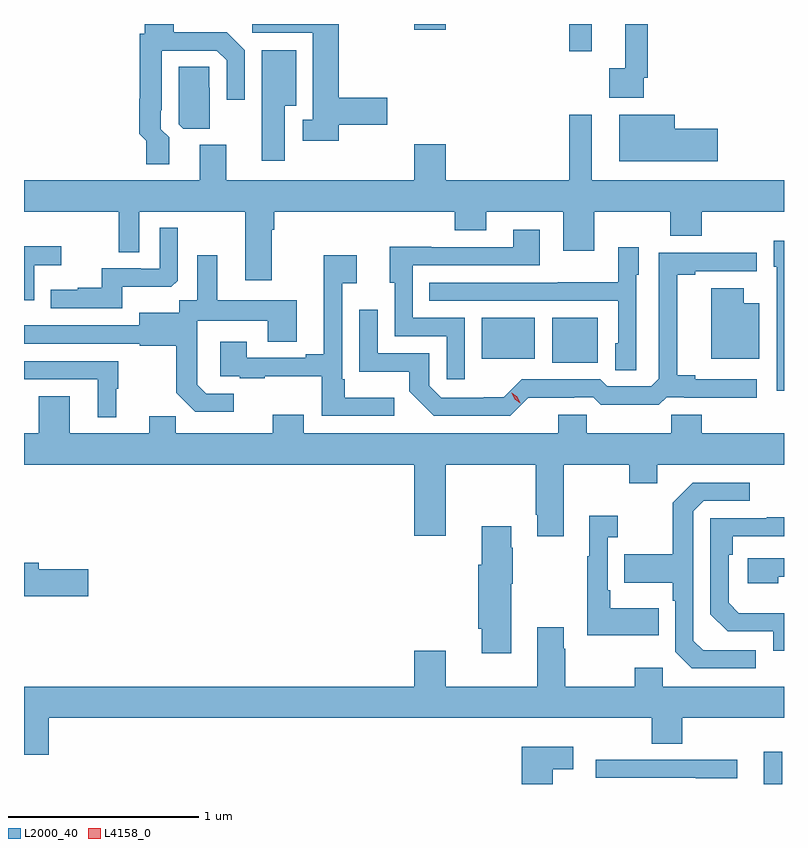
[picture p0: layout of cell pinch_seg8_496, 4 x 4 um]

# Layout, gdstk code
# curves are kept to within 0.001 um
import gdstk
lib = gdstk.Library(unit=1e-6, precision=1e-09)
def R(c, l, rs):  # rectangles x0, y0, x1, y1
    for r in rs: c.add(gdstk.rectangle(r[:2], r[2:], *l))
def P(c, l, *ps):  # polygons
    for p in ps: c.add(gdstk.Polygon(p, *l))
L2000_40 = (2000, 40)
L4158_0 = (4158, 0)

pinch_seg8_496 = lib.new_cell('pinch_seg8_496')
R(pinch_seg8_496, L2000_40, [(226.787,1106.827,226.884,1106.998), (225.674,1109.045,225.913,1109.281), (225.302,1109.066,225.58,1109.281), (225.763,1110.684,225.881,1110.827), (224.948,1110.798,225.112,1110.827)])
P(pinch_seg8_496, L2000_40, [(223.657,1110.23),(223.614,1110.273),(223.614,1110.373),(223.617,1110.373),(223.617,1110.687),(223.908,1110.687),(223.959,1110.636),(223.959,1110.429),(224.055,1110.429),(224.055,1110.69),(223.961,1110.784),(223.681,1110.784),(223.681,1110.827),(223.529,1110.827),(223.529,1110.777),(223.501,1110.777),(223.501,1110.434),(223.499,1110.434),(223.499,1110.25),(223.537,1110.212),(223.537,1110.09),(223.657,1110.09)],
  [(226.155,1110.544),(226.175,1110.544),(226.175,1110.827),(226.058,1110.827),(226.058,1110.593),(225.972,1110.593),(225.972,1110.44),(226.155,1110.44)],
  [(224.549,1110.298),(224.806,1110.298),(224.806,1110.44),(224.549,1110.44),(224.549,1110.827),(224.093,1110.827),(224.093,1110.78),(224.414,1110.78),(224.414,1110.322),(224.361,1110.322),(224.361,1110.212),(224.549,1110.212)],
  [(224.266,1110.398),(224.326,1110.398),(224.326,1110.688),(224.144,1110.688),(224.144,1110.108),(224.266,1110.108)],
  [(223.87,1110.491),(223.869,1110.491),(223.869,1110.602),(223.707,1110.602),(223.707,1110.3),(223.731,1110.277),(223.87,1110.277)],
  [(226.543,1110.275),(226.318,1110.275),(226.318,1110.349),(226.025,1110.349),(226.025,1110.104),(226.543,1110.104)],
  [(224.197,1109.744),(224.21,1109.744),(224.21,1109.84),(225.161,1109.84),(225.161,1109.741),(225.325,1109.741),(225.325,1109.84),(225.731,1109.84),(225.731,1109.634),(225.895,1109.634),(225.895,1109.84),(226.295,1109.84),(226.295,1109.712),(226.459,1109.712),(226.459,1109.84),(226.893,1109.84),(226.893,1110.004),(225.88,1110.004),(225.88,1110.349),(225.763,1110.349),(225.763,1110.004),(225.112,1110.004),(225.112,1110.193),(224.948,1110.193),(224.948,1110.004),(223.957,1110.004),(223.957,1110.192),(223.817,1110.192),(223.817,1110.004),(222.893,1110.004),(222.893,1109.84),(223.392,1109.84),(223.392,1109.626),(223.5,1109.626),(223.5,1109.84),(224.057,1109.84),(224.057,1109.478),(224.197,1109.478)],
  [(223.411,1109.444),(223.669,1109.444),(223.701,1109.475),(223.701,1109.755),(223.608,1109.755),(223.608,1109.538),(223.508,1109.538),(223.508,1109.541),(223.301,1109.541),(223.301,1109.44),(223.177,1109.44),(223.177,1109.428),(223.033,1109.428),(223.033,1109.331),(223.411,1109.331)],
  [(225.213,1109.28),(224.94,1109.28),(224.94,1109.556),(225.607,1109.556),(225.607,1109.743),(225.467,1109.743),(225.467,1109.652),(225.037,1109.652),(225.037,1109.654),(224.819,1109.654),(224.819,1109.466),(224.844,1109.466),(224.844,1109.184),(225.117,1109.184),(225.117,1108.956),(225.213,1108.956)],
  [(226.893,1109.686),(226.838,1109.686),(226.838,1109.55),(226.856,1109.55),(226.856,1108.897),(226.893,1108.897)],
  [(222.948,1109.558),(223.09,1109.558),(223.09,1109.657),(222.893,1109.657),(222.893,1109.373),(222.948,1109.373)],
  [(226.116,1109.508),(226.129,1109.508),(226.129,1109.653),(226.02,1109.653),(226.02,1109.467),(225.703,1109.467),(225.703,1109.466),(225.025,1109.466),(225.025,1109.37),(226.02,1109.37),(226.02,1109.148),(226.004,1109.148),(226.004,1109.005),(226.116,1109.005)],
  [(225.548,1108.859),(225.788,1108.859),(225.788,1108.863),(225.888,1108.863),(225.928,1108.824),(226.235,1108.824),(226.275,1108.863),(226.369,1108.863),(226.369,1108.859),(226.75,1108.859),(226.75,1108.956),(226.426,1108.956),(226.426,1108.979),(226.331,1108.979),(226.331,1109.506),(226.426,1109.506),(226.426,1109.526),(226.75,1109.526),(226.75,1109.622),(226.233,1109.622),(226.233,1108.959),(226.194,1108.92),(225.963,1108.92),(225.927,1108.956),(225.513,1108.956),(225.419,1108.862),(225.314,1108.862),(225.314,1108.86),(225.09,1108.86),(225.027,1108.923),(225.027,1109.094),(224.754,1109.094),(224.754,1109.323),(224.658,1109.323),(224.658,1108.997),(224.92,1108.997),(224.92,1108.895),(225.05,1108.764),(225.453,1108.764)],
  [(224.842,1108.861),(224.581,1108.861),(224.581,1108.957),(224.568,1108.957),(224.568,1109.462),(224.644,1109.462),(224.644,1109.611),(224.471,1109.611),(224.471,1109.089),(224.375,1109.089),(224.375,1109.07),(224.065,1109.07),(224.065,1109.155),(223.925,1109.155),(223.925,1108.974),(224.029,1108.974),(224.029,1108.962),(224.161,1108.962),(224.161,1108.973),(224.46,1108.973),(224.46,1108.764),(224.842,1108.764)],
  [(223.996,1108.881),(223.851,1108.881),(223.804,1108.928),(223.804,1109.023),(223.806,1109.023),(223.806,1109.264),(224.177,1109.264),(224.177,1109.155),(224.329,1109.155),(224.329,1109.374),(223.909,1109.374),(223.909,1109.611),(223.805,1109.611),(223.805,1109.372),(223.71,1109.372),(223.71,1109.308),(223.499,1109.308),(223.499,1109.241),(222.893,1109.242),(222.893,1109.145),(223.503,1109.145),(223.503,1109.133),(223.695,1109.133),(223.695,1108.887),(223.795,1108.787),(223.996,1108.787)],
  [(226.762,1109.356),(226.681,1109.356),(226.681,1109.437),(226.511,1109.437),(226.511,1109.066),(226.762,1109.066)],
  [(223.378,1108.908),(223.39,1108.908),(223.39,1109.052),(222.893,1109.052),(222.893,1108.956),(223.28,1108.956),(223.28,1108.757),(223.378,1108.757)],
  [(223.553,1108.763),(223.553,1108.672),(223.135,1108.672),(223.135,1108.867),(222.971,1108.867),(222.971,1108.672),(222.893,1108.672),(222.893,1108.508),(224.948,1108.508),(224.948,1108.134),(225.112,1108.134),(225.112,1108.508),(225.586,1108.508),(225.586,1108.243),(225.593,1108.243),(225.593,1108.131),(225.733,1108.131),(225.733,1108.508),(226.078,1108.508),(226.078,1108.409),(226.225,1108.409),(226.225,1108.508),(226.893,1108.508),(226.893,1108.672),(226.46,1108.672),(226.46,1108.77),(226.3,1108.77),(226.3,1108.672),(225.855,1108.672),(225.855,1108.77),(225.704,1108.77),(225.704,1108.672),(224.365,1108.672),(224.365,1108.771),(224.201,1108.771),(224.201,1108.672),(223.691,1108.672),(223.691,1108.763)],
  [(226.744,1107.531),(226.467,1107.531),(226.416,1107.582),(226.416,1108.263),(226.47,1108.317),(226.714,1108.317),(226.714,1108.413),(226.413,1108.413),(226.308,1108.307),(226.308,1108.035),(226.051,1108.035),(226.051,1107.887),(226.308,1107.887),(226.308,1107.791),(226.32,1107.791),(226.32,1107.522),(226.407,1107.435),(226.744,1107.435)],
  [(226.235,1107.751),(225.979,1107.751),(225.979,1107.847),(225.966,1107.847),(225.966,1108.127),(226.018,1108.127),(226.018,1108.24),(225.869,1108.24),(225.869,1108.027),(225.858,1108.027),(225.858,1107.611),(226.235,1107.611)],
  [(226.893,1107.727),(226.655,1107.727),(226.602,1107.78),(226.602,1108.034),(226.622,1108.034),(226.622,1108.131),(226.893,1108.131),(226.893,1108.232),(226.801,1108.232),(226.801,1108.227),(226.506,1108.227),(226.506,1107.72),(226.596,1107.63),(226.836,1107.63),(226.836,1107.528),(226.893,1107.528)],
  [(225.457,1107.881),(225.465,1107.881),(225.465,1108.07),(225.457,1108.07),(225.457,1108.183),(225.302,1108.183),(225.302,1107.981),(225.284,1107.981),(225.284,1107.645),(225.302,1107.645),(225.302,1107.516),(225.457,1107.516)],
  [(226.862,1107.918),(226.893,1107.918),(226.893,1108.014),(226.701,1108.014),(226.701,1107.884),(226.862,1107.884)],
  [(223.231,1107.956),(222.97,1107.956),(222.97,1107.992),(222.893,1107.992),(222.893,1107.814),(223.231,1107.814)],
  [(226.198,1107.04),(226.358,1107.04),(226.358,1107.176),(226.893,1107.176),(226.893,1107.34),(226.254,1107.34),(226.254,1107.439),(226.108,1107.439),(226.108,1107.34),(225.741,1107.34),(225.741,1107.539),(225.733,1107.539),(225.733,1107.652),(225.593,1107.652),(225.593,1107.34),(225.112,1107.34),(225.112,1107.529),(224.948,1107.529),(224.948,1107.34),(222.893,1107.34),(222.893,1106.982),(223.022,1106.982),(223.022,1107.176),(226.198,1107.176)],
  [(225.676,1106.905),(225.784,1106.905),(225.784,1107.022),(225.512,1107.022),(225.512,1106.827),(225.676,1106.827)],
  [(226.648,1106.955),(225.903,1106.955),(225.903,1106.859),(226.428,1106.859),(226.428,1106.858),(226.648,1106.858)])
P(pinch_seg8_496, L4158_0, [(225.506,1108.831),(225.475,1108.852),(225.459,1108.886),(225.459,1108.886),(225.46,1108.886),(225.49,1108.865),(225.506,1108.831),(225.506,1108.831)])

lib.write_gds('pinch_seg8_496.gds')
